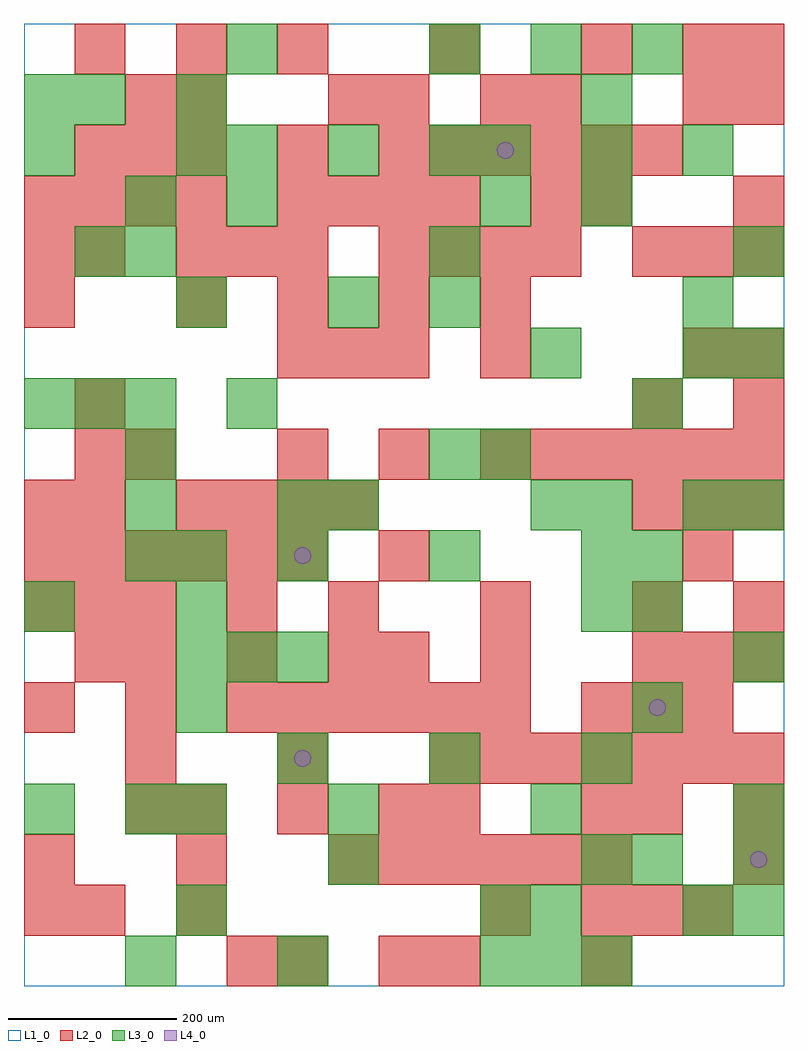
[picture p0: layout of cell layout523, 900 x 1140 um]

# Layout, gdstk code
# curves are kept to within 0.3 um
import gdstk
lib = gdstk.Library(unit=1e-6, precision=1e-09)
def R(c, l, rs):  # rectangles x0, y0, x1, y1
    for r in rs: c.add(gdstk.rectangle(r[:2], r[2:], *l))
def A(c, l, x, y, w, h, nx, ny, dx, dy):  # array of equal rectangles
    R(c, l, [(x+i*dx, y+j*dy, x+i*dx+w, y+j*dy+h) for i in range(nx) for j in range(ny)])
def P(c, l, *ps):  # polygons
    for p in ps: c.add(gdstk.Polygon(p, *l))
L1_0 = (1, 0)
L2_0 = (2, 0)
L3_0 = (3, 0)
L4_0 = (4, 0)

layout523 = lib.new_cell('layout523')
R(layout523, L1_0, [(0,0,900,1140)])
A(layout523, L2_0, 660, 60, 60, 60, 3, 2, 60, 240)
A(layout523, L2_0, 0, 120, 60, 60, 3, 1, 180, 0)
A(layout523, L2_0, 420, 120, 60, 60, 5, 1, 60, 0)
A(layout523, L2_0, 120, 180, 60, 60, 1, 3, 0, 420)
A(layout523, L2_0, 180, 180, 60, 60, 3, 1, 120, 0)
A(layout523, L2_0, 840, 180, 60, 60, 1, 3, 0, 240)
A(layout523, L2_0, 120, 240, 60, 60, 3, 1, 180, 0)
A(layout523, L2_0, 540, 240, 60, 60, 6, 1, 60, 0)
A(layout523, L2_0, 0, 300, 60, 60, 3, 1, 120, 0)
A(layout523, L2_0, 300, 300, 60, 60, 5, 1, 60, 0)
A(layout523, L2_0, 120, 360, 60, 60, 3, 1, 120, 0)
A(layout523, L2_0, 720, 360, 60, 60, 3, 2, 60, 180)
A(layout523, L2_0, 0, 420, 60, 60, 3, 1, 60, 0)
A(layout523, L2_0, 360, 420, 60, 60, 3, 1, 180, 0)
A(layout523, L2_0, 0, 480, 60, 60, 6, 1, 60, 0)
A(layout523, L2_0, 60, 540, 60, 60, 1, 3, 0, 60)
A(layout523, L2_0, 180, 540, 60, 60, 4, 1, 60, 0)
A(layout523, L2_0, 300, 600, 60, 60, 3, 1, 120, 0)
A(layout523, L2_0, 600, 600, 60, 60, 5, 1, 60, 0)
A(layout523, L2_0, 300, 720, 60, 60, 3, 1, 60, 0)
A(layout523, L2_0, 180, 780, 60, 60, 4, 1, 120, 0)
A(layout523, L2_0, 180, 840, 60, 60, 3, 1, 60, 0)
A(layout523, L2_0, 420, 840, 60, 60, 4, 1, 60, 0)
A(layout523, L2_0, 720, 840, 60, 60, 3, 1, 60, 0)
A(layout523, L2_0, 0, 900, 60, 60, 4, 1, 60, 0)
A(layout523, L2_0, 300, 900, 60, 60, 4, 1, 60, 0)
A(layout523, L2_0, 60, 960, 60, 60, 3, 1, 60, 0)
A(layout523, L2_0, 420, 960, 60, 60, 6, 1, 60, 0)
A(layout523, L2_0, 60, 1080, 60, 60, 3, 1, 120, 0)
R(layout523, L2_0, [(240,0,300,60), (300,0,360,60), (420,0,480,60), (480,0,540,60), (660,0,720,60), (0,60,60,120), (60,60,120,120), (180,60,240,120), (540,60,600,120), (840,120,900,180), (480,180,540,240), (660,180,720,240), (720,180,780,240), (60,360,120,420), (420,360,480,420), (540,360,600,420), (240,420,300,480), (420,480,480,540), (780,480,840,540), (0,540,60,600), (720,660,780,720), (540,720,600,780), (780,720,840,780), (840,720,900,780), (0,780,60,840), (0,840,60,900), (60,840,120,900), (600,900,660,960), (660,900,720,960), (840,900,900,960), (300,960,360,1020), (180,1020,240,1080), (360,1020,420,1080), (420,1020,480,1080), (540,1020,600,1080), (600,1020,660,1080), (780,1020,840,1080), (840,1020,900,1080), (480,1080,540,1140), (660,1080,720,1140), (780,1080,840,1140), (840,1080,900,1140)])
A(layout523, L3_0, 540, 0, 60, 60, 3, 1, 60, 0)
A(layout523, L3_0, 180, 60, 60, 60, 1, 4, 0, 120)
A(layout523, L3_0, 360, 180, 60, 60, 3, 1, 240, 0)
A(layout523, L3_0, 300, 240, 60, 60, 3, 2, 180, 240)
A(layout523, L3_0, 180, 360, 60, 60, 3, 1, 60, 0)
A(layout523, L3_0, 840, 360, 60, 60, 1, 3, 0, 180)
A(layout523, L3_0, 120, 480, 60, 60, 1, 3, 0, 60)
A(layout523, L3_0, 0, 660, 60, 60, 3, 1, 60, 0)
A(layout523, L3_0, 120, 840, 60, 60, 3, 1, 360, 0)
A(layout523, L3_0, 240, 960, 60, 60, 3, 1, 120, 0)
A(layout523, L3_0, 540, 960, 60, 60, 3, 1, 120, 0)
A(layout523, L3_0, 480, 1080, 60, 60, 3, 1, 120, 0)
R(layout523, L3_0, [(120,0,180,60), (300,0,360,60), (540,60,600,120), (600,60,660,120), (780,60,840,120), (840,60,900,120), (360,120,420,180), (660,120,720,180), (720,120,780,180), (840,120,900,180), (0,180,60,240), (120,180,180,240), (720,300,780,360), (0,420,60,480), (660,420,720,480), (720,420,780,480), (180,480,240,540), (720,480,780,540), (300,540,360,600), (360,540,420,600), (600,540,660,600), (660,540,720,600), (780,540,840,600), (480,600,540,660), (540,600,600,660), (240,660,300,720), (720,660,780,720), (600,720,660,780), (780,720,840,780), (180,780,240,840), (360,780,420,840), (480,780,540,840), (780,780,840,840), (60,840,120,900), (120,900,180,960), (240,900,300,960), (540,900,600,960), (660,900,720,960), (0,960,60,1020), (180,960,240,1020), (0,1020,60,1080), (60,1020,120,1080), (180,1020,240,1080), (660,1020,720,1080), (240,1080,300,1140)])
P(layout523, L4_0, [(340,270),(339.239,273.827),(337.071,277.071),(333.827,279.239),(330,280),(326.173,279.239),(322.929,277.071),(320.761,273.827),(320,270),(320.761,266.173),(322.929,262.929),(326.173,260.761),(330,260),(333.827,260.761),(337.071,262.929),(339.239,266.173)],
  [(340,510),(339.239,513.827),(337.071,517.071),(333.827,519.239),(330,520),(326.173,519.239),(322.929,517.071),(320.761,513.827),(320,510),(320.761,506.173),(322.929,502.929),(326.173,500.761),(330,500),(333.827,500.761),(337.071,502.929),(339.239,506.173)],
  [(580,990),(579.239,993.827),(577.071,997.071),(573.827,999.239),(570,1000),(566.173,999.239),(562.929,997.071),(560.761,993.827),(560,990),(560.761,986.173),(562.929,982.929),(566.173,980.761),(570,980),(573.827,980.761),(577.071,982.929),(579.239,986.173)],
  [(760,330),(759.239,333.827),(757.071,337.071),(753.827,339.239),(750,340),(746.173,339.239),(742.929,337.071),(740.761,333.827),(740,330),(740.761,326.173),(742.929,322.929),(746.173,320.761),(750,320),(753.827,320.761),(757.071,322.929),(759.239,326.173)],
  [(880,150),(879.239,153.827),(877.071,157.071),(873.827,159.239),(870,160),(866.173,159.239),(862.929,157.071),(860.761,153.827),(860,150),(860.761,146.173),(862.929,142.929),(866.173,140.761),(870,140),(873.827,140.761),(877.071,142.929),(879.239,146.173)])

lib.write_gds('layout523.gds')
